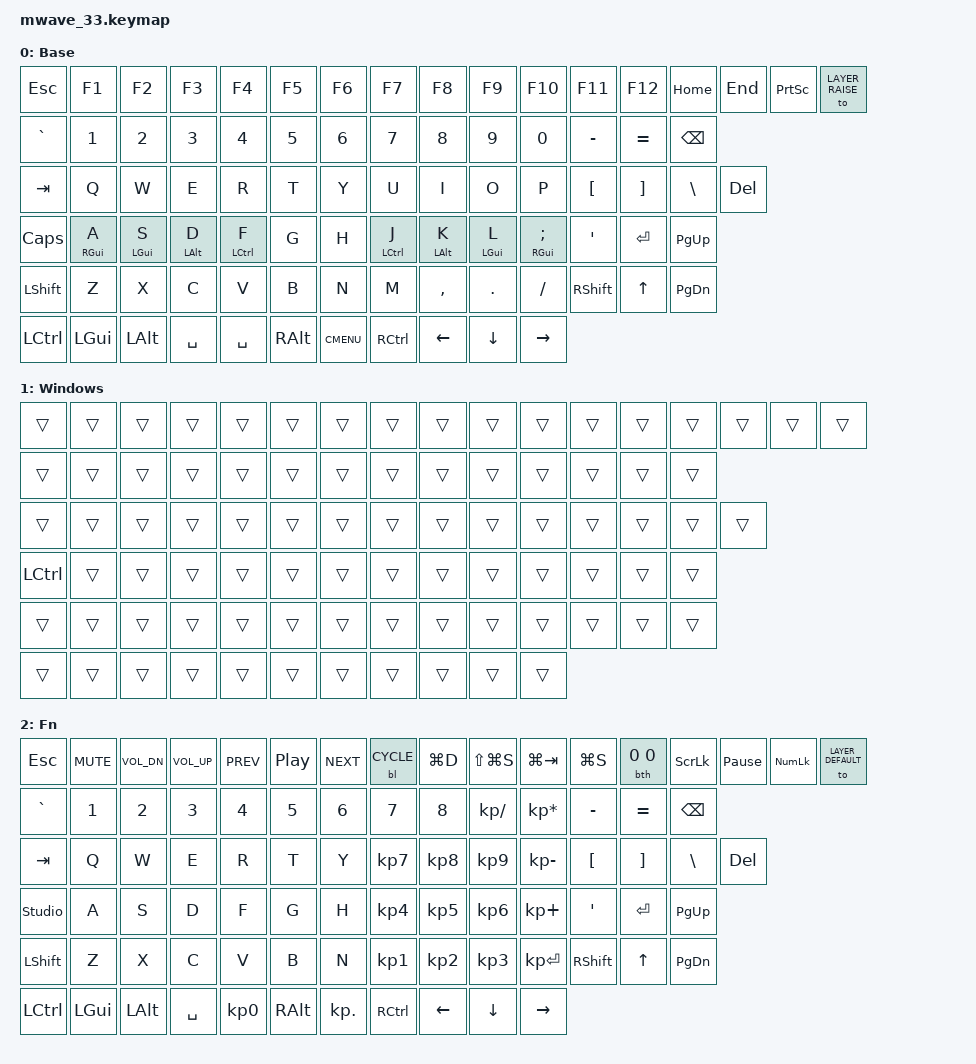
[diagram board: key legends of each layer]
#include <dt-bindings/advertising_mode.h>
#include <behaviors/advertising_mode.dtsi>
#include <behaviors/stp_indicators.dtsi>
#include <behaviors.dtsi>
#include <dt-bindings/zmk/backlight.h>
#include <dt-bindings/zmk/keys.h>
#include "studio-macros.dtsi"

&mt {
    flavor = "balanced";
    quick-tap-ms = <150>;
};

&lt { flavor = "balanced"; };

#define LAYER_DEFAULT 0
#define LAYER_WINDOWS 1
#define LAYER_RAISE   2

/ {
    #include "mwave_prim.dtsi"

    behaviors {
        // https://github.com/urob/zmk-config?tab=readme-ov-file#timeless-homerow-mods
        // Home row mod (left)

        hml: hml {
            compatible = "zmk,behavior-hold-tap";
            #binding-cells = <2>;
            tapping-term-ms = <280>;
            bindings = <&kp>, <&kp>;

            flavor = "balanced";
            quick-tap-ms = <175>;
            require-prior-idle-ms = <400>;
            hold-trigger-key-positions = <0 1 2 3 4 5 6 7 8 9 10 11 12 13 14 15 16 17 18 19 20 21 22 23 24 25 26 27 28 29 30 31 37 38 39 40 41 42 43 44 45 53 54 55 56 57 58 59 66 67 68 69 70 71 72 73 74 75 76 77 78 79 80 81 82 83 84>;
            hold-trigger-on-release;
        };

        // Home row mod (right)

        hmr: hmr {
            compatible = "zmk,behavior-hold-tap";
            #binding-cells = <2>;
            tapping-term-ms = <280>;
            bindings = <&kp>, <&kp>;

            flavor = "balanced";
            quick-tap-ms = <175>;
            require-prior-idle-ms = <400>;
            hold-trigger-key-positions = <0 1 2 3 4 5 6 7 8 9 10 11 12 13 14 15 16 17 18 19 20 21 22 23 24 25 26 27 28 29 30 31 32 33 34 35 36 46 47 48 49 50 51 52 60 61 62 63 64 65 45 58 59 70 71 72 73 74 75 76 77 78 79 80 81 82 83 84>;
            hold-trigger-on-release;
        };
    };

    combos {
        compatible = "zmk,combos";

        // combo_copy {
        //     key-positions = <POS_LH_C4R5 POS_LH_C3R5>;
        //     bindings = <&kp LC(C)>;
        //     require-prior-idle-ms = <300>;
        // };
        // combo_paste {
        //     key-positions = <POS_LH_C3R5 POS_LH_C2R5>;
        //     bindings = <&kp LC(V)>;
        //     require-prior-idle-ms = <300>;
        // };
        // combo_cut {
        //     key-positions = <POS_LH_C4R5 POS_LH_C2R5>;
        //     bindings = <&kp LC(X)>;
        // };
        // combo_undo {
        //     key-positions = <POS_LH_C5R5 POS_LH_C4R5>;
        //     bindings = <&kp LC(Z)>;
        // };

        combo_caps_word {
            key-positions = <77 78>;
            bindings = <&caps_word>;
        };

        combo_win_layer {
            bindings = <&tog LAYER_WINDOWS>;
            key-positions = <16 0>;
        };
    };

    keymap {
        compatible = "zmk,keymap";

        default_layer {
            display-name = "Base";

            // -------------------------------------------------------------------------------------------------------
            // | ESC | F1  | F2  | F3  | F4  | F5  | F6  | | F7  | F8  | F9  | F10 | F11 | F12 |HOME| END |PSCN|  1  |
            // |GRAVE|  1  |  2  |  3  |  4  |  5  |  6  | |   7   |  8  |  9  |  0  |  -  |  =  |    BKSP     | DEL |
            // | TAB    |  Q  |  W  |  E  |  R  |   T    | |   Y  |  U  |  I  |  O  |  P  |  [  |  ]  |   \    |     |
            // | CAPS     |  A  |  S  |  D  |  F  |  G   | |  H    |  J  |  K  |  L  |  ;  |  '  |    ENTER    | PGUP|
            // |   SHIFT   |  Z  |  X  |  C  |  V  |  B  | |    N    |  M  |  ,  |  .  |  /  |   SHIFT   | UP  | PGDN|
            // |  CTL  |  WIN  |  ALT  |      SPACE      | |      SPACE        | ALT | MENU |RCTRL| LEFT| DOWN |RIGHT|
            // -------------------------------------------------------------------------------------------------------

            bindings = <
&kp ESC    &kp F1       &kp F2       &kp F3       &kp F4        &kp F5    &kp F6       &kp F7        &kp F8       &kp F9       &kp F10         &kp F11    &kp F12    &kp HOME   &kp END  &kp PRINTSCREEN  &to LAYER_RAISE
&kp GRAVE  &kp N1       &kp N2       &kp N3       &kp N4        &kp N5    &kp N6       &kp N7        &kp N8       &kp N9       &kp N0          &kp MINUS  &kp EQUAL  &kp BSPC
&kp TAB    &kp Q        &kp W        &kp E        &kp R         &kp T     &kp Y        &kp U         &kp I        &kp O        &kp P           &kp LBKT   &kp RBKT   &kp BSLH   &kp DEL
&kp CLCK   &hml RGUI A  &hml LGUI S  &hml LALT D  &hml LCTRL F  &kp G     &kp H        &hmr LCTRL J  &hmr LALT K  &hmr LGUI L  &hmr RGUI SEMI  &kp SQT    &kp RET    &kp PG_UP
&kp LSHFT  &kp Z        &kp X        &kp C        &kp V         &kp B     &kp N        &kp M         &kp COMMA    &kp DOT      &kp FSLH        &kp RSHFT  &kp UP     &kp PG_DN
&kp LCTRL  &kp LGUI     &kp LALT     &kp SPACE    &kp SPACE     &kp RALT  &kp K_CMENU  &kp RCTRL     &kp LEFT     &kp DOWN     &kp RIGHT
            >;
        };

        windows {
            display-name = "Windows";
            bindings = <
&trans     &trans  &trans  &trans  &trans  &trans  &trans  &trans  &trans  &trans  &trans  &trans  &trans  &trans  &trans  &trans  &trans
&trans     &trans  &trans  &trans  &trans  &trans  &trans  &trans  &trans  &trans  &trans  &trans  &trans  &trans
&trans     &trans  &trans  &trans  &trans  &trans  &trans  &trans  &trans  &trans  &trans  &trans  &trans  &trans  &trans
&kp LCTRL  &trans  &trans  &trans  &trans  &trans  &trans  &trans  &trans  &trans  &trans  &trans  &trans  &trans
&trans     &trans  &trans  &trans  &trans  &trans  &trans  &trans  &trans  &trans  &trans  &trans  &trans  &trans
&trans     &trans  &trans  &trans  &trans  &trans  &trans  &trans  &trans  &trans  &trans
            >;
        };

        raise {
            display-name = "Fn";
            bindings = <
&kp ESCAPE      &kp C_MUTE  &kp C_VOL_DN  &kp C_VOL_UP  &kp C_PREV  &kp C_PP  &kp C_NEXT  &bl BL_CYCLE  &kp LG(D)  &kp LS(LG(S))  &kp LG(TAB)      &kp LG(S)        &bth 0 0   &kp SCROLLLOCK  &kp PAUSE_BREAK  &kp KP_NUMLOCK  &to LAYER_DEFAULT
&kp GRAVE       &kp N1      &kp N2        &kp N3        &kp N4      &kp N5    &kp N6      &kp N7        &kp N8     &kp KP_DIVIDE  &kp KP_MULTIPLY  &kp MINUS        &kp EQUAL  &kp BACKSPACE
&kp TAB         &kp Q       &kp W         &kp E         &kp R       &kp T     &kp Y       &kp KP_N7     &kp KP_N8  &kp KP_N9      &kp KP_MINUS     &kp LBKT         &kp RBKT   &kp BSLH        &kp DELETE
&studio_unlock  &kp A       &kp S         &kp D         &kp F       &kp G     &kp H       &kp KP_N4     &kp KP_N5  &kp KP_N6      &kp KP_PLUS      &kp SQT          &kp ENTER  &kp PAGE_UP
&kp LEFT_SHIFT  &kp Z       &kp X         &kp C         &kp V       &kp B     &kp N       &kp KP_N1     &kp KP_N2  &kp KP_N3      &kp KP_ENTER     &kp RIGHT_SHIFT  &kp UP     &kp PAGE_DOWN
&kp LCTRL       &kp LGUI    &kp LALT      &kp SPACE     &kp KP_N0   &kp RALT  &kp KP_DOT  &kp RCTRL     &kp LEFT   &kp DOWN       &kp RIGHT
            >;
        };
    };
};
